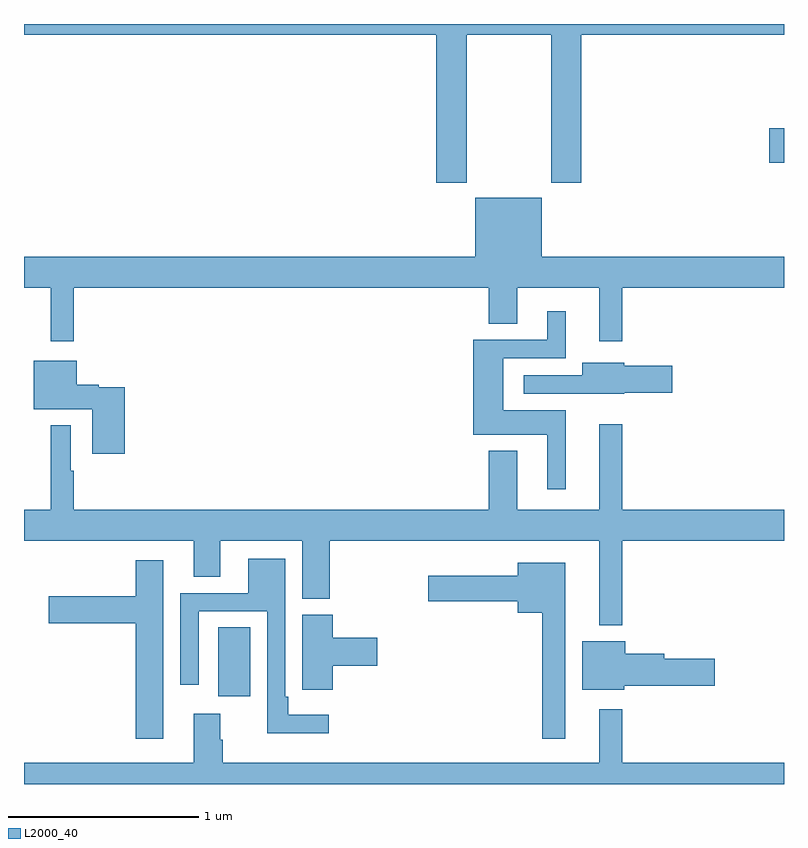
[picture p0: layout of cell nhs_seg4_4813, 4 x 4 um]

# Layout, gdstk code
import gdstk
lib = gdstk.Library(unit=1e-6, precision=1e-09)
def R(c, l, rs):  # rectangles x0, y0, x1, y1
    for r in rs: c.add(gdstk.rectangle(r[:2], r[2:], *l))
def P(c, l, *ps):  # polygons
    for p in ps: c.add(gdstk.Polygon(p, *l))
L2000_40 = (2000, 40)

nhs_seg4_4813 = lib.new_cell('nhs_seg4_4813')
R(nhs_seg4_4813, L2000_40, [(372.023,769.362,372.19,769.724), (374.922,772.169,375,772.352)])
P(nhs_seg4_4813, L2000_40, [(373.329,772.844),(373.774,772.844),(373.774,772.065),(373.934,772.065),(373.934,772.844),(375,772.844),(375,772.9),(371,772.9),(371,772.844),(373.169,772.844),(373.169,772.065),(373.329,772.065)],
  [(371.263,771.512),(373.445,771.512),(373.445,771.322),(373.597,771.322),(373.597,771.512),(374.027,771.512),(374.027,771.231),(374.149,771.231),(374.149,771.512),(375,771.512),(375,771.676),(373.726,771.676),(373.726,771.985),(373.376,771.985),(373.376,771.676),(371,771.676),(371,771.512),(371.141,771.512),(371.141,771.231),(371.263,771.231)],
  [(373.852,770.866),(373.522,770.866),(373.522,771.141),(373.852,771.141),(373.852,771.388),(373.754,771.388),(373.754,771.237),(373.364,771.237),(373.364,770.738),(373.754,770.738),(373.754,770.451),(373.852,770.451)],
  [(371.531,770.989),(371.394,770.989),(371.394,771.002),(371.278,771.002),(371.278,771.127),(371.051,771.127),(371.051,770.873),(371.36,770.873),(371.36,770.637),(371.531,770.637)],
  [(374.16,770.96),(374.413,770.96),(374.413,771.102),(374.16,771.102),(374.16,771.118),(373.937,771.118),(373.937,771.051),(373.629,771.051),(373.629,770.955),(373.941,770.955),(373.941,770.954),(374.16,770.954)],
  [(374.149,770.18),(375,770.18),(375,770.344),(374.149,770.344),(374.149,770.794),(374.027,770.794),(374.027,770.344),(373.597,770.344),(373.597,770.653),(373.445,770.653),(373.445,770.344),(371.263,770.344),(371.263,770.549),(371.245,770.549),(371.245,770.788),(371.141,770.788),(371.141,770.344),(371,770.344),(371,770.18),(371.894,770.18),(371.894,769.99),(372.034,769.99),(372.034,770.18),(372.464,770.18),(372.464,769.876),(372.608,769.876),(372.608,770.18),(374.027,770.18),(374.027,769.736),(374.149,769.736)],
  [(372.604,769.264),(372.391,769.264),(372.391,769.36),(372.375,769.36),(372.375,770.086),(372.179,770.086),(372.179,769.905),(371.823,769.905),(371.823,769.422),(371.919,769.422),(371.919,769.809),(372.279,769.809),(372.279,769.166),(372.604,769.166)],
  [(371.734,770.077),(371.588,770.077),(371.588,769.887),(371.13,769.887),(371.13,769.745),(371.588,769.745),(371.588,769.137),(371.734,769.137)],
  [(373.849,770.065),(373.598,770.065),(373.598,769.996),(373.128,769.996),(373.128,769.862),(373.598,769.862),(373.598,769.802),(373.728,769.802),(373.728,769.137),(373.849,769.137)],
  [(372.626,769.523),(372.859,769.523),(372.859,769.67),(372.626,769.67),(372.626,769.791),(372.464,769.791),(372.464,769.507),(372.465,769.507),(372.465,769.395),(372.626,769.395)],
  [(374.16,769.417),(374.635,769.417),(374.635,769.559),(374.37,769.559),(374.37,769.586),(374.164,769.586),(374.164,769.651),(373.937,769.651),(373.937,769.397),(374.16,769.397)],
  [(375,769.012),(374.149,769.012),(374.149,769.294),(374.027,769.294),(374.027,769.012),(372.047,769.012),(372.047,769.133),(372.034,769.133),(372.034,769.27),(371.894,769.27),(371.894,769.012),(371,769.012),(371,768.9),(375,768.9)])

lib.write_gds('nhs_seg4_4813.gds')
